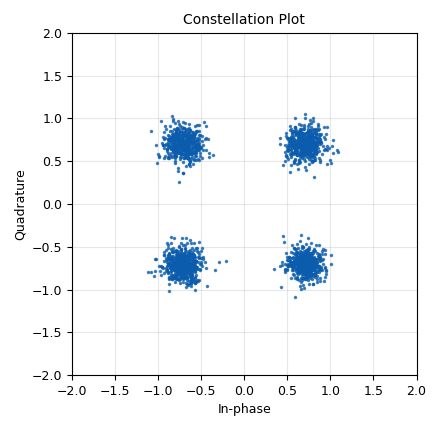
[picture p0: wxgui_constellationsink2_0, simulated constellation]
<?xml version='1.0' encoding='utf-8'?>
<?grc format='1' created='3.7.11'?>
<flow_graph>
<block>
<key>options</key>
<param><key>id</key><value>top_block</value></param>
<param><key>generate_options</key><value>wx_gui</value></param>
</block>
<block>
<key>variable_slider</key>
<param><key>id</key><value>EbN0</value></param>
<param><key>converver</key><value>float_converter</value></param>
<param><key>value</key><value>10</value></param>
<param><key>label</key><value>Eb / N0 (dB)</value></param>
<param><key>max</key><value>200</value></param>
<param><key>min</key><value>-10</value></param>
<param><key>num_steps</key><value>100</value></param>
<param><key>style</key><value>wx.SL_HORIZONTAL</value></param>
</block>
<block>
<key>variable</key>
<param><key>id</key><value>const</value></param>
<param><key>value</key><value>(digital.constellation_bpsk(), digital.constellation_qpsk(), digital.constellation_8psk())</value></param>
</block>
<block>
<key>variable</key>
<param><key>id</key><value>const_type</value></param>
<param><key>value</key><value>1</value></param>
</block>
<block>
<key>variable</key>
<param><key>id</key><value>samp_rate</value></param>
<param><key>value</key><value>100000</value></param>
</block>
<block>
<key>variable_static_text</key>
<param><key>id</key><value>variable_static_text_0</value></param>
<param><key>converver</key><value>float_converter</value></param>
<param><key>value</key><value>{0: 'BPSK', 1: 'QPSK', 2: '8-PSK'}[const_type] + " - Change const_type for different constellation types!"</value></param>
<param><key>formatter</key><value>None</value></param>
<param><key>label</key><value>Constellation Type</value></param>
</block>
<block>
<key>analog_noise_source_x</key>
<param><key>id</key><value>analog_noise_source_x_0</value></param>
<param><key>amp</key><value>1.0 / math.sqrt(2.0 * const[const_type].bits_per_symbol() * 10**(EbN0/10))</value></param>
<param><key>noise_type</key><value>analog.GR_GAUSSIAN</value></param>
<param><key>type</key><value>complex</value></param>
<param><key>seed</key><value>42</value></param>
</block>
<block>
<key>analog_random_source_x</key>
<param><key>id</key><value>analog_random_source_x_0</value></param>
<param><key>max</key><value>const[const_type].arity()</value></param>
<param><key>min</key><value>0</value></param>
<param><key>num_samps</key><value>int(10e6)</value></param>
<param><key>type</key><value>byte</value></param>
<param><key>repeat</key><value>True</value></param>
</block>
<block>
<key>blks2_error_rate</key>
<param><key>id</key><value>blks2_error_rate_0</value></param>
<param><key>bits_per_symbol</key><value>const[const_type].bits_per_symbol()</value></param>
<param><key>type</key><value>'BER'</value></param>
<param><key>win_size</key><value>int(10e6)</value></param>
</block>
<block>
<key>blocks_add_xx</key>
<param><key>id</key><value>blocks_add_xx_0</value></param>
<param><key>type</key><value>complex</value></param>
</block>
<block>
<key>blocks_throttle</key>
<param><key>id</key><value>blocks_throttle_0</value></param>
<param><key>samples_per_second</key><value>samp_rate</value></param>
<param><key>type</key><value>byte</value></param>
</block>
<block>
<key>digital_chunks_to_symbols_xx</key>
<param><key>id</key><value>digital_chunks_to_symbols_xx_0</value></param>
<param><key>dimension</key><value>1</value></param>
<param><key>in_type</key><value>byte</value></param>
<param><key>out_type</key><value>complex</value></param>
<param><key>symbol_table</key><value>const[const_type].points()</value></param>
</block>
<block>
<key>digital_constellation_decoder_cb</key>
<param><key>id</key><value>digital_constellation_decoder_cb_0</value></param>
<param><key>constellation</key><value>const[const_type].base()</value></param>
</block>
<block>
<key>import</key>
<param><key>id</key><value>import_0</value></param>
<param><key>import</key><value>import math</value></param>
</block>
<block>
<key>wxgui_constellationsink2</key>
<param><key>id</key><value>wxgui_constellationsink2_0</value></param>
<param><key>const_size</key><value>2048</value></param>
<param><key>frame_rate</key><value>5</value></param>
<param><key>gain_mu</key><value>0.005</value></param>
<param><key>grid_pos</key><value>2,0,1,1</value></param>
<param><key>loop_bw</key><value>6.28/100.0</value></param>
<param><key>M</key><value>2</value></param>
<param><key>fmax</key><value>0.06</value></param>
<param><key>mu</key><value>0.5</value></param>
<param><key>omega_limit</key><value>0.005</value></param>
<param><key>samp_rate</key><value>samp_rate</value></param>
<param><key>symbol_rate</key><value>samp_rate/4.</value></param>
<param><key>theta</key><value>0</value></param>
<param><key>title</key><value>Constellation Plot</value></param>
</block>
<block>
<key>wxgui_numbersink2</key>
<param><key>id</key><value>wxgui_numbersink2_0</value></param>
<param><key>avg_alpha</key><value>0</value></param>
<param><key>average</key><value>True</value></param>
<param><key>decimal_places</key><value>4</value></param>
<param><key>factor</key><value>100</value></param>
<param><key>grid_pos</key><value>1,0,1,1</value></param>
<param><key>max_value</key><value>1</value></param>
<param><key>min_value</key><value>0</value></param>
<param><key>number_rate</key><value>15</value></param>
<param><key>peak_hold</key><value>False</value></param>
<param><key>ref_level</key><value>0</value></param>
<param><key>samp_rate</key><value>100000</value></param>
<param><key>show_gauge</key><value>False</value></param>
<param><key>title</key><value>BER</value></param>
<param><key>type</key><value>float</value></param>
<param><key>units</key><value>%</value></param>
</block>
<connection><source_block_id>analog_noise_source_x_0</source_block_id><sink_block_id>blocks_add_xx_0</sink_block_id><source_key>0</source_key><sink_key>1</sink_key></connection>
<connection><source_block_id>analog_random_source_x_0</source_block_id><sink_block_id>blocks_throttle_0</sink_block_id><source_key>0</source_key><sink_key>0</sink_key></connection>
<connection><source_block_id>analog_random_source_x_0</source_block_id><sink_block_id>digital_chunks_to_symbols_xx_0</sink_block_id><source_key>0</source_key><sink_key>0</sink_key></connection>
<connection><source_block_id>blks2_error_rate_0</source_block_id><sink_block_id>wxgui_numbersink2_0</sink_block_id><source_key>0</source_key><sink_key>0</sink_key></connection>
<connection><source_block_id>blocks_add_xx_0</source_block_id><sink_block_id>digital_constellation_decoder_cb_0</sink_block_id><source_key>0</source_key><sink_key>0</sink_key></connection>
<connection><source_block_id>blocks_add_xx_0</source_block_id><sink_block_id>wxgui_constellationsink2_0</sink_block_id><source_key>0</source_key><sink_key>0</sink_key></connection>
<connection><source_block_id>blocks_throttle_0</source_block_id><sink_block_id>blks2_error_rate_0</sink_block_id><source_key>0</source_key><sink_key>0</sink_key></connection>
<connection><source_block_id>digital_chunks_to_symbols_xx_0</source_block_id><sink_block_id>blocks_add_xx_0</sink_block_id><source_key>0</source_key><sink_key>0</sink_key></connection>
<connection><source_block_id>digital_constellation_decoder_cb_0</source_block_id><sink_block_id>blks2_error_rate_0</sink_block_id><source_key>0</source_key><sink_key>1</sink_key></connection>
</flow_graph>
